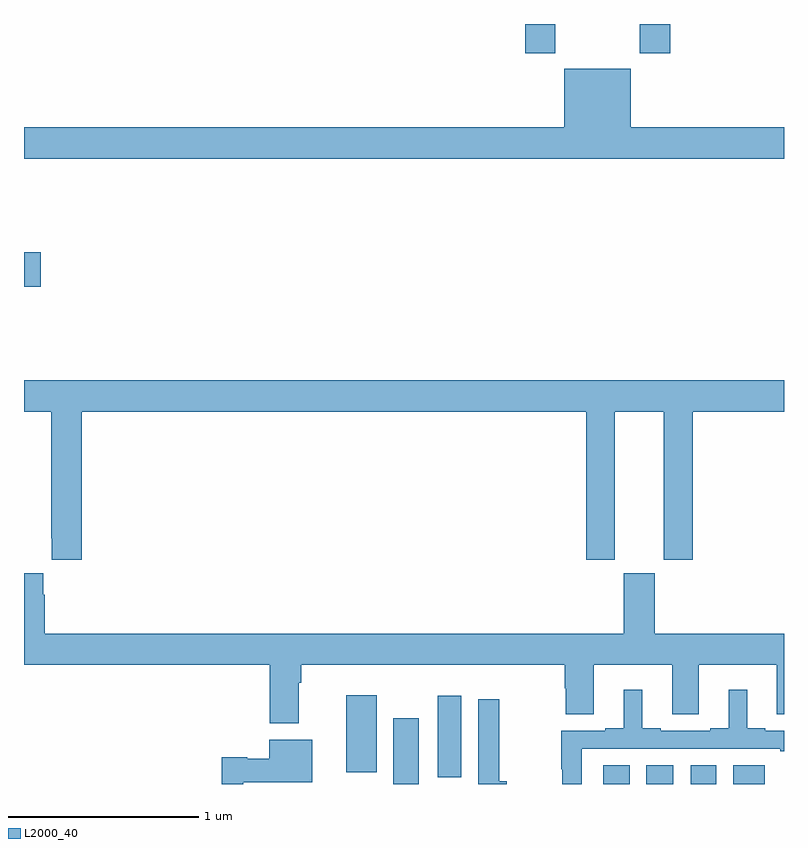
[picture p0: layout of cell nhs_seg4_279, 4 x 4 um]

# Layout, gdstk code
import gdstk
lib = gdstk.Library(unit=1e-6, precision=1e-09)
def R(c, l, rs):  # rectangles x0, y0, x1, y1
    for r in rs: c.add(gdstk.rectangle(r[:2], r[2:], *l))
def P(c, l, *ps):  # polygons
    for p in ps: c.add(gdstk.Polygon(p, *l))
L2000_40 = (2000, 40)

nhs_seg4_279 = lib.new_cell('nhs_seg4_279')
R(nhs_seg4_279, L2000_40, [(126.944,754.9,127.078,755.245), (128.048,754.9,128.188,755), (128.276,754.9,128.416,755), (128.51,754.9,128.644,755), (128.732,754.9,128.899,755), (127.178,754.935,127.3,755.365), (126.695,754.962,126.856,755.368), (125,757.517,125.089,757.7), (127.637,758.745,127.797,758.9), (128.242,758.745,128.402,758.9)])
P(nhs_seg4_279, L2000_40, [(129,758.356),(128.194,758.356),(128.194,758.665),(127.844,758.665),(127.844,758.356),(125,758.356),(125,758.192),(129,758.192)],
  [(125.303,756.86),(127.958,756.86),(127.958,756.081),(128.11,756.081),(128.11,756.86),(128.366,756.86),(128.366,756.081),(128.519,756.081),(128.519,756.86),(129,756.86),(129,757.024),(125,757.024),(125,756.86),(125.143,756.86),(125.143,756.193),(125.147,756.193),(125.147,756.081),(125.303,756.081)],
  [(125.108,755.897),(125.101,755.897),(125.101,756.01),(125,756.01),(125,755.528),(126.293,755.528),(126.293,755.219),(126.445,755.219),(126.445,755.432),(126.458,755.432),(126.458,755.528),(127.847,755.528),(127.847,755.403),(127.852,755.403),(127.852,755.266),(127.999,755.266),(127.999,755.528),(128.411,755.528),(128.411,755.266),(128.551,755.266),(128.551,755.528),(128.963,755.528),(128.963,755.266),(129,755.266),(129,755.692),(128.32,755.692),(128.32,756.009),(128.156,756.009),(128.156,755.692),(125.108,755.692)],
  [(127.935,755.085),(128.981,755.085),(128.981,755.073),(129,755.073),(129,755.181),(128.902,755.181),(128.902,755.194),(128.806,755.194),(128.806,755.395),(128.708,755.395),(128.708,755.194),(128.612,755.194),(128.612,755.181),(128.35,755.181),(128.35,755.194),(128.254,755.194),(128.254,755.395),(128.156,755.395),(128.156,755.194),(128.06,755.194),(128.06,755.181),(127.827,755.181),(127.827,754.978),(127.834,754.978),(127.834,754.9),(127.935,754.9)],
  [(127.54,754.915),(127.501,754.915),(127.501,755.347),(127.392,755.347),(127.392,754.9),(127.54,754.9)],
  [(126.154,754.91),(126.517,754.91),(126.517,755.134),(126.29,755.134),(126.29,755.032),(126.174,755.032),(126.174,755.04),(126.042,755.04),(126.042,754.9),(126.154,754.9)])

lib.write_gds('nhs_seg4_279.gds')
